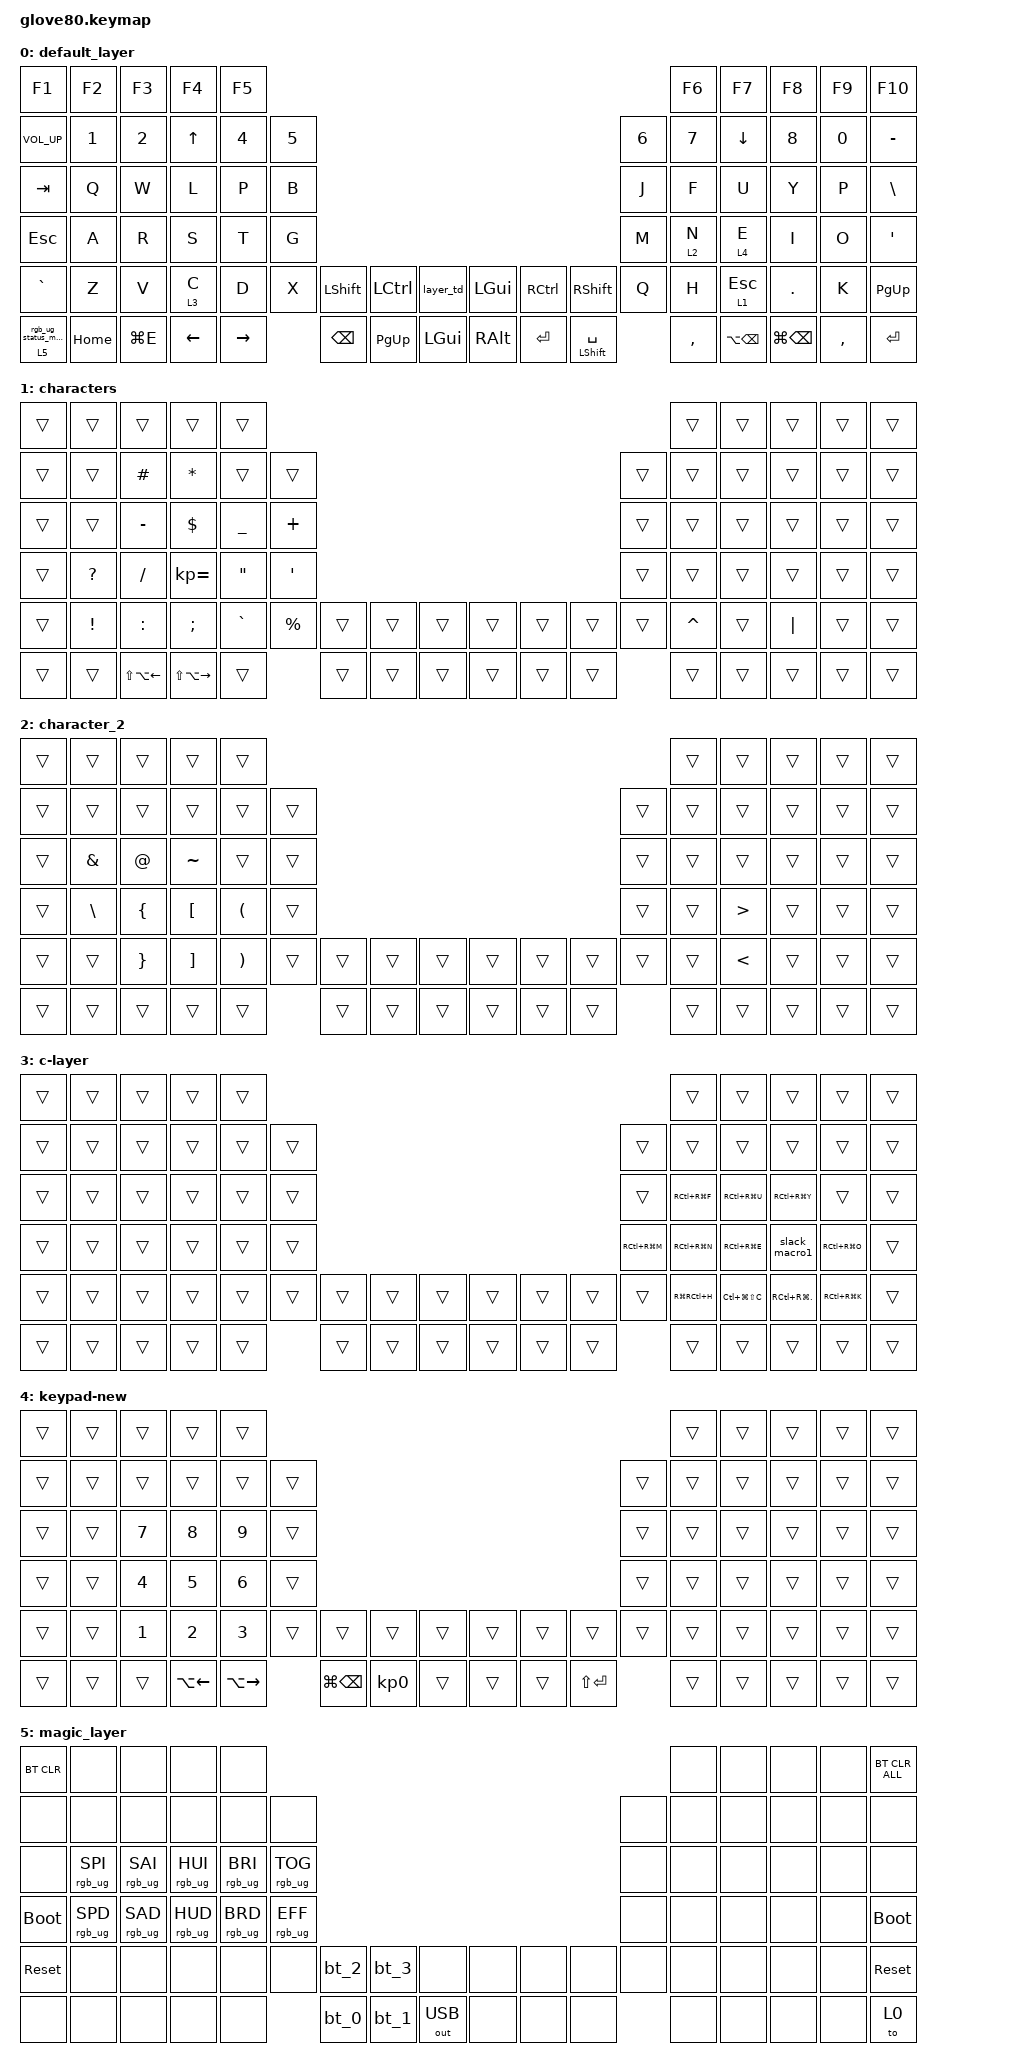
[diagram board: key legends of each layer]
/*
 * Copyright (c) 2020 The ZMK Contributors
 *
 * SPDX-License-Identifier: MIT
 */

#include <behaviors.dtsi>
#include <dt-bindings/zmk/bt.h>
#include <dt-bindings/zmk/keys.h>
#include <dt-bindings/zmk/outputs.h>
#include <dt-bindings/zmk/rgb.h>

#define HYPER LC(LS(LG(LALT)))

// layers

#define DEFAULT 0
#define LOWER 1
#define MAGIC 2
#define FACTORY_TEST 3

/ {
    behaviors {
        // For the "layer" key, it'd nice to be able to use it as either a shift or a toggle.
        // Configure it as a tap dance, so the first tap (or hold) is a &mo and the second tap is a &to

        layer_td: tap_dance_0 {
            compatible = "zmk,behavior-tap-dance";
            label = "LAYER_TAP_DANCE";
            #binding-cells = <0>;
            tapping-term-ms = <200>;
            bindings = <&mo 0>, <&to 0>;
        };

        magic: magic_hold_tap {
            compatible = "zmk,behavior-hold-tap";
            label = "MAGIC_HOLD_TAP";
            #binding-cells = <2>;
            flavor = "tap-preferred";
            tapping-term-ms = <200>;
            bindings = <&mo>, <&rgb_ug_status_macro>;
        };

        tlb: toggle_layer_balanced {
            compatible = "zmk,behavior-hold-tap";
            label = "TOGLE_LAYER_BALANCED";
            #binding-cells = <2>;
            tapping-term-ms = <200>;
            flavor = "balanced";
            bindings = <&mo>, <&kp>;
        };

        thb: tap_hold_balanced {
            compatible = "zmk,behavior-hold-tap";
            label = "THB";
            bindings = <&kp>, <&kp>;

            #binding-cells = <2>;
            tapping-term-ms = <200>;
            flavor = "balanced";
        };
    };

    macros {
        rgb_ug_status_macro: rgb_ug_status_macro_0 {
            label = "RGB_UG_STATUS";
            compatible = "zmk,behavior-macro";
            #binding-cells = <0>;
            bindings = <&rgb_ug RGB_STATUS>;
        };

        bt_0: bt_profile_macro_0 {
            label = "BT_0";
            compatible = "zmk,behavior-macro";
            #binding-cells = <0>;
            bindings = <&out OUT_BLE &bt BT_SEL 0>;
        };

        bt_1: bt_profile_macro_1 {
            label = "BT_1";
            compatible = "zmk,behavior-macro";
            #binding-cells = <0>;
            bindings = <&out OUT_BLE &bt BT_SEL 1>;
        };

        bt_2: bt_profile_macro_2 {
            label = "BT_2";
            compatible = "zmk,behavior-macro";
            #binding-cells = <0>;
            bindings = <&out OUT_BLE &bt BT_SEL 2>;
        };

        bt_3: bt_profile_macro_3 {
            label = "BT_3";
            compatible = "zmk,behavior-macro";
            #binding-cells = <0>;
            bindings = <&out OUT_BLE &bt BT_SEL 3>;
        };

        slack_macro1: slack_macro1 {
            compatible = "zmk,behavior-macro";
            label = "slack_macrooo";
            #binding-cells = <0>;
            bindings =
                <&macro_tap>,
                <&kp RC(RG(I))>,
                <&macro_wait_time 200>,
                <&macro_tap>,
                <&kp RG(K)>;
        };
    };

    keymap {
        compatible = "zmk,keymap";

        default_layer {
            // ---------------------------------------------------------------------------------------------------------------------------------
            // |  F1   |  F2 |  F3 |  F4  |  F5  |                                                               |  F6   |  F7   |  F8  |   F9  |  F10 |
            // |  =    |  1  |  2  |  3   |  4   |  5   |                                                 |  6   |   7   |   8   |  9   |   0   |   -  |
            // |  TAB  |  Q  |  W  |  E   |  R   |  T   |                                                 |  Y   |   U   |   I   |  O   |   P   |   \  |
            // |  ESC  |  A  |  S  |  D   |  F   |  G   |                                                 |  H   |   J   |   K   |  L   |   ;   |   '  |
            // |   `   |  Z  |  X  |  C   |  V   |  B   | LSHFT | LCTRL | LOWER | | LGUI  | RCTRL | RSHFT |  N   |   M   |   ,   |  .   |   /   | PGUP |
            // | MAGIC | HOME| END | LEFT | RIGHT|      | BSPC  | DEL   | LALT  | | RALT  | RET   | SPACE |      |  UP   | DOWN  |  [   |   ]   | PGDN |

            bindings = <
&kp F1           &kp F2    &kp F3     &kp F4          &kp F5                                                                                                    &kp F6     &kp F7             &kp F8             &kp F9     &kp F10
&kp C_VOLUME_UP  &kp N1    &kp N2     &kp UP_ARROW    &kp N4     &kp N5                                                                                 &kp N6  &kp N7     &kp DOWN           &kp N8             &kp N0     &kp MINUS
&kp TAB          &kp Q     &kp W      &kp L           &kp P      &kp B                                                                                  &kp J   &kp F      &kp U              &kp Y              &kp P      &kp BSLH
&kp ESC          &kp A     &kp R      &kp S           &kp T      &kp G                                                                                  &kp M   &tlb 2 N   &tlb 4 E           &kp I              &kp O      &kp SQT
&kp GRAVE        &kp Z     &kp V      &tlb 3 C        &kp D      &kp X   &kp LSHFT  &kp LCTRL    &layer_td  &kp LGUI  &kp RCTRL  &kp RSHFT              &kp Q   &kp H      &tlb 1 ESCAPE      &kp DOT            &kp K      &kp PG_UP
&magic 5 0       &kp HOME  &kp LG(E)  &kp LEFT_ARROW  &kp RIGHT          &kp BSPC   &kp PAGE_UP  &kp LGUI   &kp RALT  &kp RET    &thb LEFT_SHIFT SPACE          &kp COMMA  &kp LA(BACKSPACE)  &kp LG(BACKSPACE)  &kp COMMA  &kp ENTER
            >;
        };

        characters {
            bindings = <
&trans  &trans           &trans                  &trans             &trans                                                                                       &trans     &trans  &trans    &trans  &trans
&trans  &trans           &kp HASH                &kp ASTRK          &trans             &trans                                                            &trans  &trans     &trans  &trans    &trans  &trans
&trans  &trans           &kp MINUS               &kp DOLLAR         &kp UNDER          &kp PLUS                                                          &trans  &trans     &trans  &trans    &trans  &trans
&trans  &kp QUESTION     &kp SLASH               &kp KP_EQUAL       &kp DOUBLE_QUOTES  &kp SINGLE_QUOTE                                                  &trans  &trans     &trans  &trans    &trans  &trans
&trans  &kp EXCLAMATION  &kp COLON               &kp SEMICOLON      &kp GRAVE          &kp PERCENT       &trans  &trans  &trans  &trans  &trans  &trans  &trans  &kp CARET  &trans  &kp PIPE  &trans  &trans
&trans  &trans           &kp LS(LA(LEFT_ARROW))  &kp LS(LA(RIGHT))  &trans                               &trans  &trans  &trans  &trans  &trans  &trans          &trans     &trans  &trans    &trans  &trans
            >;
        };

        character_2 {
            bindings = <
&trans  &trans         &trans           &trans             &trans                                                                                 &trans  &trans            &trans  &trans  &trans
&trans  &trans         &trans           &trans             &trans                 &trans                                                  &trans  &trans  &trans            &trans  &trans  &trans
&trans  &kp AMPERSAND  &kp AT_SIGN      &kp TILDE          &trans                 &trans                                                  &trans  &trans  &trans            &trans  &trans  &trans
&trans  &kp BACKSLASH  &kp LEFT_BRACE   &kp LEFT_BRACKET   &kp LEFT_PARENTHESIS   &trans                                                  &trans  &trans  &kp GREATER_THAN  &trans  &trans  &trans
&trans  &trans         &kp RIGHT_BRACE  &kp RIGHT_BRACKET  &kp RIGHT_PARENTHESIS  &trans  &trans  &trans  &trans  &trans  &trans  &trans  &trans  &trans  &kp LESS_THAN     &trans  &trans  &trans
&trans  &trans         &trans           &trans             &trans                         &trans  &trans  &trans  &trans  &trans  &trans          &trans  &trans            &trans  &trans  &trans
            >;
        };

        c-layer {
            bindings = <
&trans  &trans  &trans  &trans  &trans                                                                         &trans         &trans             &trans           &trans         &trans
&trans  &trans  &trans  &trans  &trans  &trans                                                  &trans         &trans         &trans             &trans           &trans         &trans
&trans  &trans  &trans  &trans  &trans  &trans                                                  &trans         &kp RC(RG(F))  &kp RC(RG(U))      &kp RC(RG(Y))    &trans         &trans
&trans  &trans  &trans  &trans  &trans  &trans                                                  &kp RC(RG(M))  &kp RC(RG(N))  &kp RC(RG(E))      &slack_macro1    &kp RC(RG(O))  &trans
&trans  &trans  &trans  &trans  &trans  &trans  &trans  &trans  &trans  &trans  &trans  &trans  &trans         &kp RG(RC(H))  &kp LC(LG(LS(C)))  &kp RC(RG(DOT))  &kp RC(RG(K))  &trans
&trans  &trans  &trans  &trans  &trans          &trans  &trans  &trans  &trans  &trans  &trans                 &trans         &trans             &trans           &trans         &trans
            >;
        };

        keypad-new {
            bindings = <
&trans  &trans  &trans  &trans              &trans                                                                                                          &trans  &trans  &trans  &trans  &trans
&trans  &trans  &trans  &trans              &trans               &trans                                                                             &trans  &trans  &trans  &trans  &trans  &trans
&trans  &trans  &kp N7  &kp N8              &kp N9               &trans                                                                             &trans  &trans  &trans  &trans  &trans  &trans
&trans  &trans  &kp N4  &kp N5              &kp N6               &trans                                                                             &trans  &trans  &trans  &trans  &trans  &trans
&trans  &trans  &kp N1  &kp N2              &kp N3               &trans  &trans             &trans           &trans  &trans  &trans  &trans         &trans  &trans  &trans  &trans  &trans  &trans
&trans  &trans  &trans  &kp LA(LEFT_ARROW)  &kp LA(RIGHT_ARROW)          &kp LG(BACKSPACE)  &kp KP_NUMBER_0  &trans  &trans  &trans  &kp LS(ENTER)          &trans  &trans  &trans  &trans  &trans
            >;
        };

        magic_layer {
            bindings = <
&bt BT_CLR   &none            &none            &none            &none                                                                                     &none  &none  &none  &none  &bt BT_CLR_ALL
&none        &none            &none            &none            &none            &none                                                             &none  &none  &none  &none  &none  &none
&none        &rgb_ug RGB_SPI  &rgb_ug RGB_SAI  &rgb_ug RGB_HUI  &rgb_ug RGB_BRI  &rgb_ug RGB_TOG                                                   &none  &none  &none  &none  &none  &none
&bootloader  &rgb_ug RGB_SPD  &rgb_ug RGB_SAD  &rgb_ug RGB_HUD  &rgb_ug RGB_BRD  &rgb_ug RGB_EFF                                                   &none  &none  &none  &none  &none  &bootloader
&sys_reset   &none            &none            &none            &none            &none            &bt_2  &bt_3  &none         &none  &none  &none  &none  &none  &none  &none  &none  &sys_reset
&none        &none            &none            &none            &none                             &bt_0  &bt_1  &out OUT_USB  &none  &none  &none         &none  &none  &none  &none  &to 0
            >;
        };
    };
};
